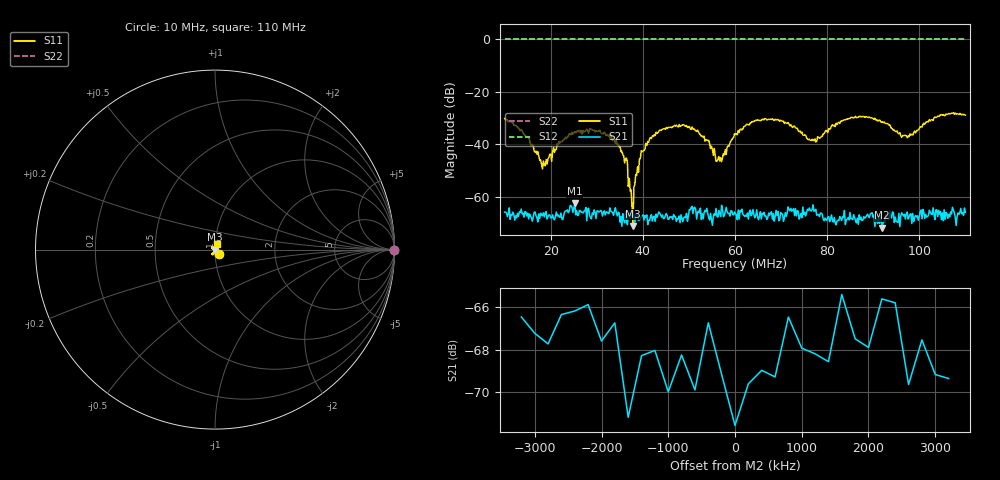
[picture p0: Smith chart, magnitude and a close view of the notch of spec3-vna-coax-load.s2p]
! Anritsu VNA Master:  Model: MS2034B/10/19/501
! SN:  1337062
! /bd0/ovro-jan-2016/spec3-vna-coax-load.s2p
! Existing Calibration Information:
! TYPE:  Current Settings,  Active Cal Settings
! TIME:  01/10/2016 07:45:57 PM,  01/10/2016 03:13:30 PM
! INTERNAL TEMP:  41.8 C,  45.8 C
! # POINTS:  500,  500
! START FREQ:  10.000 MHz,  10.000 MHz
! STOP FREQ:  110.000 MHz,  110.000 MHz
! SOURCE POWER:  Low,  Low
! IFBW:  100 Hz,  100 Hz
! AVG FACTOR:  1 ,  3
! REF PLANE 1:  2.2245 m,  2.2245 m
! REF PLANE 2:  0 mm,  0 mm
! CAL TYPE:  1P2P S11,S21,  1P2P S11,S21
! CAL METHOD:  SOLT,  SOLT
! CAL LINE TYPE:  Coax,  Coax
! DUT PORT 1:  K-Conn(M),  K-Conn(M)
! DUT PORT 2:  N-Conn(M),  N-Conn(M)
! CAL STATUS:  OK: Accuracy High,  --
# GHZ S DB R 50.0
! FREQ.GHZ  S11DB  S11A  S21DB  S21A  S12DB  S12A  S22DB  S22A
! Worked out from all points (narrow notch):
!   500 points, 10 MHz to 110 MHz, reference 50 ohm
!   highest |S21| = -62.31 dB at 25.23 MHz (marker M1); lowest = -71.6 dB at 91.96 MHz (marker M2)
!   notch at M2: 4.8 dB deep, 546 kHz wide at half that depth
!   lowest |S11| = -70.9 dB at 37.86 MHz (marker M3), VSWR 1.00, Z = 50 - j0.00138 ohm
!   |S11| at or under -10 dB: start of sweep to end of sweep
!   |S22| runs from 0.0 to 0.0 dB; largest |S21 - S12| = 1
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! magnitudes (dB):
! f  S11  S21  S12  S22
! 10 MHz  -30.2  -65.7  0.0  0.0
! 15.01 MHz  -37.2  -66.0  0.0  0.0
! 18.42 MHz  -46.3  -65.9  0.0  0.0
! 25.23 MHz  -35.2  -62.3  0.0  0.0
! 26.83 MHz  -36.1  -65.7  0.0  0.0
! 34.65 MHz  -39.9  -65.8  0.0  0.0
! 36.25 MHz  -45.2  -65.5  0.0  0.0
! 37.45 MHz  -57.3  -67.1  0.0  0.0
! 37.86 MHz  -70.9  -66.6  0.0  0.0
! 39.66 MHz  -42.4  -67.3  0.0  0.0
! 43.47 MHz  -35.1  -65.6  0.0  0.0
! 51.08 MHz  -34.1  -64.0  0.0  0.0
! 56.29 MHz  -45.7  -67.6  0.0  0.0
! 60.1 MHz  -36.0  -66.4  0.0  0.0
! 67.72 MHz  -30.4  -66.0  0.0  0.0
! 76.73 MHz  -38.0  -64.8  0.0  0.0
! 85.15 MHz  -29.7  -68.2  0.0  0.0
! 91.96 MHz  -31.4  -71.6  0.0  0.0
! 93.37 MHz  -32.6  -68.6  0.0  0.0
! 97.37 MHz  -37.5  -65.6  0.0  0.0
! 104.4 MHz  -29.2  -66.5  0.0  0.0
! 110 MHz  -28.8  -65.7  0.0  0.0
